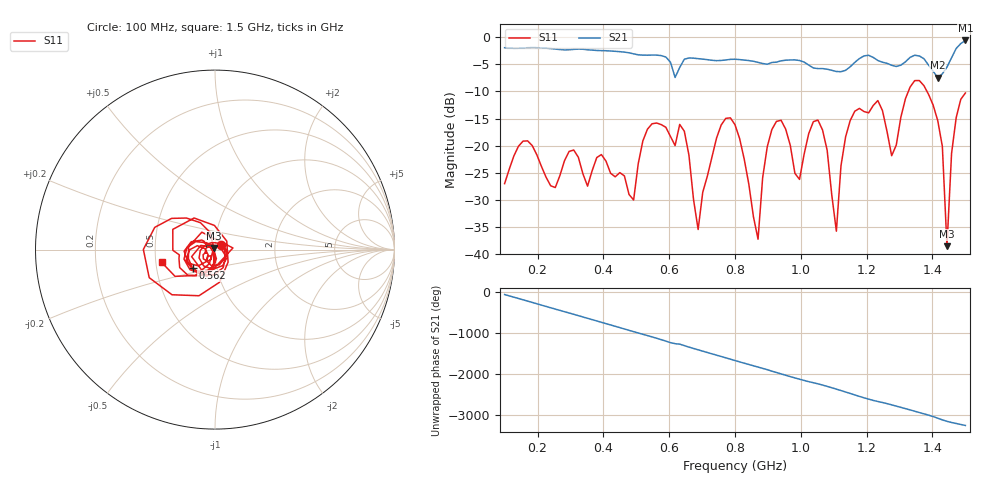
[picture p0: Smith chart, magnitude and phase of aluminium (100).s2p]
! NanoVNA-App
! Date: 2025-09-25 14:56:03
! Start: 100MHz Stop: 1,5GHz Points: 101
! S-Parameter data: F S11 S21 S12 S22
# Hz S RI R 50
!  Frequency  S11_Real  S11_Imag  S21_Real  S21_Imag  S12_Real  S12_Imag  S22_Real  S22_Imag
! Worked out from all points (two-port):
!   101 points, 100 MHz to 1.5 GHz, reference 50 ohm
!   highest |S21| = -0.58 dB at 1.5 GHz (marker M1); lowest = -7.4 dB at 1.416 GHz (marker M2)
!   |S21| within 3 dB of the highest: start of sweep to 586.9 MHz; 1.46 GHz to end of sweep (the widest 2 of 4)
!   lowest |S11| = -38.5 dB at 1.444 GHz (marker M3), VSWR 1.02, Z = 49.3 + j0.909 ohm
!   |S11| at or under -10 dB: start of sweep to 1.327 GHz; 1.383 GHz to end of sweep
!   S12 and S22 are empty: the file has one direction only
!   S11 on the Smith chart (normalised r, x): 100 MHz: 1.07, +0.06; 562 MHz: 0.76, -0.16; 1.5 GHz: 0.54, -0.08
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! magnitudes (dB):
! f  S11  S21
! 100 MHz  -27.0  -1.9
! 156 MHz  -19.2  -2.0
! 338 MHz  -25.2  -2.2
! 492 MHz  -30.0  -3.1
! 562 MHz  -15.8  -3.3
! 576 MHz  -16.1  -3.4
! 646 MHz  -17.3  -4.1
! 688 MHz  -35.5  -3.9
! 744 MHz  -18.6  -4.3
! 800 MHz  -16.1  -4.0
! 870 MHz  -37.3  -4.6
! 912 MHz  -17.0  -4.6
! 996 MHz  -26.2  -4.3
! 1.038 GHz  -15.6  -5.7
! 1.108 GHz  -35.8  -6.3
! 1.164 GHz  -13.6  -4.6
! 1.276 GHz  -21.9  -5.2
! 1.346 GHz  -8.0  -3.3
! 1.416 GHz  -15.4  -7.4
! 1.444 GHz  -38.5  -5.5
! 1.458 GHz  -21.4  -3.8
! 1.5 GHz  -10.3  -0.6
